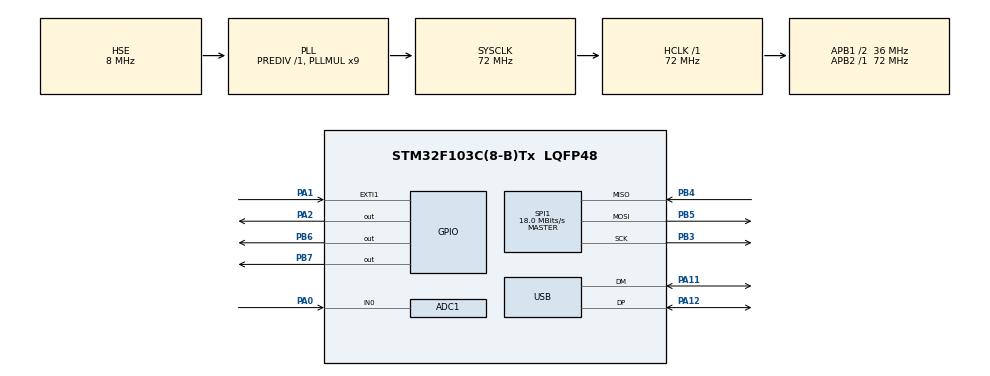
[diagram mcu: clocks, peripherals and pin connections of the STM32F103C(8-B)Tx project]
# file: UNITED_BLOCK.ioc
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ADC1.Channel-0\#ChannelRegularConversion=ADC_CHANNEL_0
ADC1.ContinuousConvMode=ENABLE
ADC1.EnableInjectedConversion=DISABLE
ADC1.NbrOfConversion=1
ADC1.NbrOfConversionFlag=1
ADC1.Rank-0\#ChannelRegularConversion=1
ADC1.SamplingTime-0\#ChannelRegularConversion=ADC_SAMPLETIME_1CYCLE_5
ADC1.master=1
Dma.ADC1.0.Direction=DMA_PERIPH_TO_MEMORY
Dma.ADC1.0.Instance=DMA1_Channel1
Dma.ADC1.0.MemDataAlignment=DMA_MDATAALIGN_WORD
Dma.ADC1.0.MemInc=DMA_MINC_ENABLE
Dma.ADC1.0.Mode=DMA_CIRCULAR
Dma.ADC1.0.PeriphDataAlignment=DMA_PDATAALIGN_WORD
Dma.ADC1.0.PeriphInc=DMA_PINC_DISABLE
Dma.ADC1.0.Priority=DMA_PRIORITY_LOW
Dma.Request0=ADC1
Mcu.Family=STM32F1
Mcu.Name=STM32F103C(8-B)Tx
Mcu.Package=LQFP48
NVIC.DMA1_Channel1_IRQn=true\:0\:0\:false\:false\:true\:false\:true
NVIC.EXTI1_IRQn=true\:0\:0\:false\:false\:true\:true\:true
NVIC.PriorityGroup=NVIC_PRIORITYGROUP_4
NVIC.USB_LP_CAN1_RX0_IRQn=true\:0\:0\:false\:false\:true\:false\:true
PA0-WKUP.Signal=SharedAnalog_PA0
PA1.Signal=GPXTI1
PA11.Mode=Device
PA11.Signal=USB_DM
PA12.Mode=Device
PA12.Signal=USB_DP
PA13.Mode=Serial_Wire
PA13.Signal=SYS_JTMS-SWDIO
PA14.Mode=Serial_Wire
PA14.Signal=SYS_JTCK-SWCLK
PA2.Signal=GPIO_Output
PB3.Mode=Full_Duplex_Master
PB3.Signal=SPI1_SCK
PB4.Mode=Full_Duplex_Master
PB4.Signal=SPI1_MISO
PB5.Mode=Full_Duplex_Master
PB5.Signal=SPI1_MOSI
PB6.PinState=GPIO_PIN_SET
PB6.Signal=GPIO_Output
PB7.PinState=GPIO_PIN_SET
PB7.Signal=GPIO_Output
PC14-OSC32_IN.Mode=LSE-External-Oscillator
PC14-OSC32_IN.Signal=RCC_OSC32_IN
PC15-OSC32_OUT.Mode=LSE-External-Oscillator
PC15-OSC32_OUT.Signal=RCC_OSC32_OUT
PD0-OSC_IN.Mode=HSE-External-Oscillator
PD0-OSC_IN.Signal=RCC_OSC_IN
PD1-OSC_OUT.Mode=HSE-External-Oscillator
PD1-OSC_OUT.Signal=RCC_OSC_OUT
ProjectManager.HeapSize=0x200
ProjectManager.StackSize=0x400
ProjectManager.TargetToolchain=STM32CubeIDE
RCC.ADCPresc=RCC_ADCPCLK2_DIV6
RCC.AHBFreq_Value=72000000
RCC.APB1CLKDivider=RCC_HCLK_DIV2
RCC.APB1Freq_Value=36000000
RCC.APB1TimFreq_Value=72000000
RCC.APB2Freq_Value=72000000
RCC.APB2TimFreq_Value=72000000
RCC.HCLKFreq_Value=72000000
RCC.PLLMUL=RCC_PLL_MUL9
RCC.PLLSourceVirtual=RCC_PLLSOURCE_HSE
RCC.SYSCLKFreq_VALUE=72000000
RCC.SYSCLKSource=RCC_SYSCLKSOURCE_PLLCLK
RCC.USBFreq_Value=48000000
RCC.USBPrescaler=RCC_USBCLKSOURCE_PLL_DIV1_5
SH.SharedAnalog_PA0.0=GPIO_Analog
SH.SharedAnalog_PA0.1=ADC1_IN0,IN0
SPI1.BaudRatePrescaler=SPI_BAUDRATEPRESCALER_4
SPI1.CalculateBaudRate=18.0 MBits/s
SPI1.DataSize=SPI_DATASIZE_16BIT
SPI1.Direction=SPI_DIRECTION_2LINES
SPI1.Mode=SPI_MODE_MASTER
SPI1.VirtualType=VM_MASTER
USB_DEVICE.APP_RX_DATA_SIZE=64
USB_DEVICE.APP_TX_DATA_SIZE=64
USB_DEVICE.CLASS_NAME_FS=CDC
USB_DEVICE.VirtualMode=Cdc
USB_DEVICE.VirtualModeFS=Cdc_FS
VP_USB_DEVICE_VS_USB_DEVICE_CDC_FS.Mode=CDC_FS
board=custom

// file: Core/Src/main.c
/* USER CODE BEGIN Header */
/**
  ******************************************************************************
  * @file           : main.c
  * @brief          : Main program body
  ******************************************************************************
  * @attention
  *
  * <h2><center>&copy; Copyright (c) 2020 STMicroelectronics.
  * All rights reserved.</center></h2>
  *
  * This software component is licensed by ST under BSD 3-Clause license,
  * the "License"; You may not use this file except in compliance with the
  * License. You may obtain a copy of the License at:
  *                        opensource.org/licenses/BSD-3-Clause
  *
  ******************************************************************************
  */
/* USER CODE END Header */
#include "main.h"
#include "usb_device.h"

ADC_HandleTypeDef hadc1;
DMA_HandleTypeDef hdma_adc1;

SPI_HandleTypeDef hspi1;

/* USER CODE BEGIN PV */
char RX_Str[64];
char TX_Str[64];

#define ADC_Buf_Len 2000
volatile uint16_t ADC_Buf[ADC_Buf_Len];

#define ADC_Head_Len 1000
volatile uint16_t ADC_Head_Buf[ADC_Head_Len];

#define Gain "gain"
#define Trigger_Level "tlvl"
#define Start_Stream "sstr"
#define Start_Trace "strc"
#define Start_Trigger "strg"
#define Stop "stop"
#define Reset "rset"
#define Sample_Decim "smrt"

/*
 Standard code table:
 "gainXXXX" - Gain setting, XXXX - Value 0 - 4095
 "tlvlXXXX" - Trigger level setting, XXXX - Value 0 - 4095
 "sstr" - Start Streaming mode sending debug traces (without external interrupt from trigger)
 "strc" - Start Tracer mode sending traces (with external interrupt from trigger)
 "strg"- Start Trigger mode (sending trigger impulse)
 "stop" - Stop Stream\Tracer\Trigger mode
 "rset" - Reset Number of trace
 */

volatile uint16_t Trigger = 2000;
volatile uint16_t Number = 0;
volatile uint16_t Sample_D = 1;
volatile uint8_t End_of_Conv = 0;
uint16_t CDC_RX_Len = 0;

/* USER CODE END PV */

void SystemClock_Config(void);
static void MX_GPIO_Init(void);
static void MX_DMA_Init(void);
static void MX_ADC1_Init(void);
static void MX_SPI1_Init(void);

/* USER CODE BEGIN 0 */
void Ok_Mess()
{
	char mess[] = "Done!\n";
	CDC_Transmit_FS(&mess, strlen(mess));
}

uint8_t ADC_Pre_Buf_Read()
{
	uint16_t N_Stop = 0;
	for(int i = 0; i < ADC_Head_Len; i++)
	{
		ADC_Head_Buf[i] = HAL_ADC_GetValue(&hadc1);
	}

	for(int i = 0; i < ADC_Head_Len; i++)
	{
		ADC_Head_Buf[i] = HAL_ADC_GetValue(&hadc1);
		if(ADC_Head_Buf[i] > Trigger)
		{
			N_Stop = i;
			i = ADC_Head_Len;
			HAL_GPIO_WritePin(GPIOA, GPIO_PIN_2, GPIO_PIN_SET);
			for(int u = ADC_Head_Len; u < ADC_Buf_Len; u++)
			{
				ADC_Buf[u] = HAL_ADC_GetValue(&hadc1);
			}
			for(int u = 0; u < ADC_Head_Len; u++)
			{
				ADC_Buf[u] = ADC_Head_Buf[(N_Stop+u) % ADC_Head_Len];
			}

			HAL_GPIO_WritePin(GPIOA, GPIO_PIN_2, GPIO_PIN_RESET);
			return 1;
		}
	}
	return 0;
}

void ADC_Buf_Clean()
{
	for(int i = 0; i < ADC_Buf_Len ; i++)
	{
		ADC_Buf[i] = 0;
	}
}

void ADC_Read()
{
	HAL_NVIC_DisableIRQ(EXTI1_IRQn);
	for(volatile uint16_t i = 0; i < ADC_Buf_Len ; i++)
	{
		ADC_Buf[i] =HAL_ADC_GetValue(&hadc1);
	}
	End_of_Conv = 1;
}

void DAC_Write(uint16_t val)
{
  uint16_t dac_data = 0x7000 | (val&0x0FFF);
  uint8_t data[2];
  memcpy(&data, &dac_data, sizeof(data));
  HAL_GPIO_WritePin(GPIOB, GPIO_PIN_7, GPIO_PIN_RESET);
  HAL_SPI_Transmit(&hspi1, data, sizeof(data), 0);
  HAL_GPIO_WritePin(GPIOB, GPIO_PIN_7, GPIO_PIN_SET);
}

void Clean_RX()
{
	for(int i = 0; i < 64; i++)
	{
		RX_Str[i] = 0;
	}
}

void Parser()
{
	char c_val[4] = {RX_Str[4], RX_Str[5], RX_Str[6], RX_Str[7]};
	uint16_t val = (uint16_t)(atoi(c_val));

	if(strncmp(RX_Str, Gain, 4) == 0)
	{
		DAC_Write(val);
		Clean_RX();
	}

	if(strncmp(RX_Str, Trigger_Level, 4) == 0)
	{
		Trigger = val;
		Clean_RX();
	}

	if(strncmp(RX_Str, Start_Stream, 4) == 0)
	{
		while(strncmp(RX_Str, Stop, 4))
		{
			ADC_Read();
			CDC_Transmit_FS(&ADC_Buf, ADC_Buf_Len*2);
		}
		Clean_RX();
	}

	if(strncmp(RX_Str, Start_Trace, 4) == 0)
	{

		while(strncmp(RX_Str, Stop, 4))
		{
			if(End_of_Conv == 1)
			{
				CDC_Transmit_FS(&ADC_Buf, ADC_Buf_Len*2);
				//HAL_Delay(10);
				End_of_Conv = 0;
				HAL_NVIC_EnableIRQ(EXTI1_IRQn);
			}
		}
		Clean_RX();
	}

	if(strncmp(RX_Str,  Start_Trigger, 4) == 0)
	{
		while(strncmp(RX_Str, Stop, 4))
		{
			if(ADC_Pre_Buf_Read() == 1 )
			{
				CDC_Transmit_FS(&ADC_Buf, ADC_Buf_Len*2);
				HAL_Delay(20);
			}
		Clean_RX();
		}

	}

	if(strncmp(RX_Str, Reset, 4) == 0)
	{
		Number = 0;
		Clean_RX();
	}

	if(strncmp(RX_Str, Sample_Decim, 4) == 0)
	{
		Sample_D = val;;
		Clean_RX();
	}
}

/* USER CODE END 0 */

int main(void)
{

  /* MCU Configuration--------------------------------------------------------*/

  /* Reset of all peripherals, Initializes the Flash interface and the Systick. */
  HAL_Init();

  /* Configure the system clock */
  SystemClock_Config();

  /* Initialize all configured peripherals */
  MX_GPIO_Init();
  MX_DMA_Init();
  MX_ADC1_Init();
  MX_SPI1_Init();
  MX_USB_DEVICE_Init();
  /* USER CODE BEGIN 2 */

  HAL_ADCEx_Calibration_Start(&hadc1);
  HAL_ADC_Start(&hadc1);

  /* USER CODE END 2 */

  /* Infinite loop */
  /* USER CODE BEGIN WHILE */
  while (1)
  {
	  if(CDC_RX_Len != 0)
	  {
		 Parser();
		 CDC_RX_Len = 0;
		 //Clean_RX();
	  }

    /* USER CODE END WHILE */

  }
}

void SystemClock_Config(void)
{
  RCC_OscInitTypeDef RCC_OscInitStruct = {0};
  RCC_ClkInitTypeDef RCC_ClkInitStruct = {0};
  RCC_PeriphCLKInitTypeDef PeriphClkInit = {0};

  /** Initializes the RCC Oscillators according to the specified parameters
  * in the RCC_OscInitTypeDef structure.
  */
  RCC_OscInitStruct.OscillatorType = RCC_OSCILLATORTYPE_HSE;
  RCC_OscInitStruct.HSEState = RCC_HSE_ON;
  RCC_OscInitStruct.HSEPredivValue = RCC_HSE_PREDIV_DIV1;
  RCC_OscInitStruct.HSIState = RCC_HSI_ON;
  RCC_OscInitStruct.PLL.PLLState = RCC_PLL_ON;
  RCC_OscInitStruct.PLL.PLLSource = RCC_PLLSOURCE_HSE;
  RCC_OscInitStruct.PLL.PLLMUL = RCC_PLL_MUL9;
  if (HAL_RCC_OscConfig(&RCC_OscInitStruct) != HAL_OK)
  {
    Error_Handler();
  }
  /** Initializes the CPU, AHB and APB buses clocks
  */
  RCC_ClkInitStruct.ClockType = RCC_CLOCKTYPE_HCLK|RCC_CLOCKTYPE_SYSCLK
                              |RCC_CLOCKTYPE_PCLK1|RCC_CLOCKTYPE_PCLK2;
  RCC_ClkInitStruct.SYSCLKSource = RCC_SYSCLKSOURCE_PLLCLK;
  RCC_ClkInitStruct.AHBCLKDivider = RCC_SYSCLK_DIV1;
  RCC_ClkInitStruct.APB1CLKDivider = RCC_HCLK_DIV2;
  RCC_ClkInitStruct.APB2CLKDivider = RCC_HCLK_DIV1;

  if (HAL_RCC_ClockConfig(&RCC_ClkInitStruct, FLASH_LATENCY_2) != HAL_OK)
  {
    Error_Handler();
  }
  PeriphClkInit.PeriphClockSelection = RCC_PERIPHCLK_ADC|RCC_PERIPHCLK_USB;
  PeriphClkInit.AdcClockSelection = RCC_ADCPCLK2_DIV6;
  PeriphClkInit.UsbClockSelection = RCC_USBCLKSOURCE_PLL_DIV1_5;
  if (HAL_RCCEx_PeriphCLKConfig(&PeriphClkInit) != HAL_OK)
  {
    Error_Handler();
  }
}

static void MX_ADC1_Init(void)
{

  ADC_ChannelConfTypeDef sConfig = {0};

  /** Common config
  */
  hadc1.Instance = ADC1;
  hadc1.Init.ScanConvMode = ADC_SCAN_DISABLE;
  hadc1.Init.ContinuousConvMode = ENABLE;
  hadc1.Init.DiscontinuousConvMode = DISABLE;
  hadc1.Init.ExternalTrigConv = ADC_SOFTWARE_START;
  hadc1.Init.DataAlign = ADC_DATAALIGN_RIGHT;
  hadc1.Init.NbrOfConversion = 1;
  if (HAL_ADC_Init(&hadc1) != HAL_OK)
  {
    Error_Handler();
  }
  /** Configure Regular Channel
  */
  sConfig.Channel = ADC_CHANNEL_0;
  sConfig.Rank = ADC_REGULAR_RANK_1;
  sConfig.SamplingTime = ADC_SAMPLETIME_1CYCLE_5;
  if (HAL_ADC_ConfigChannel(&hadc1, &sConfig) != HAL_OK)
  {
    Error_Handler();
  }

}

static void MX_SPI1_Init(void)
{

  /* SPI1 parameter configuration*/
  hspi1.Instance = SPI1;
  hspi1.Init.Mode = SPI_MODE_MASTER;
  hspi1.Init.Direction = SPI_DIRECTION_2LINES;
  hspi1.Init.DataSize = SPI_DATASIZE_16BIT;
  hspi1.Init.CLKPolarity = SPI_POLARITY_LOW;
  hspi1.Init.CLKPhase = SPI_PHASE_1EDGE;
  hspi1.Init.NSS = SPI_NSS_SOFT;
  hspi1.Init.BaudRatePrescaler = SPI_BAUDRATEPRESCALER_4;
  hspi1.Init.FirstBit = SPI_FIRSTBIT_MSB;
  hspi1.Init.TIMode = SPI_TIMODE_DISABLE;
  hspi1.Init.CRCCalculation = SPI_CRCCALCULATION_DISABLE;
  hspi1.Init.CRCPolynomial = 10;
  if (HAL_SPI_Init(&hspi1) != HAL_OK)
  {
    Error_Handler();
  }

}

static void MX_DMA_Init(void)
{

  /* DMA controller clock enable */
  __HAL_RCC_DMA1_CLK_ENABLE();

  /* DMA interrupt init */
  /* DMA1_Channel1_IRQn interrupt configuration */
  HAL_NVIC_SetPriority(DMA1_Channel1_IRQn, 0, 0);
  HAL_NVIC_EnableIRQ(DMA1_Channel1_IRQn);

}

static void MX_GPIO_Init(void)
{
  GPIO_InitTypeDef GPIO_InitStruct = {0};

  /* GPIO Ports Clock Enable */
  __HAL_RCC_GPIOC_CLK_ENABLE();
  __HAL_RCC_GPIOD_CLK_ENABLE();
  __HAL_RCC_GPIOA_CLK_ENABLE();
  __HAL_RCC_GPIOB_CLK_ENABLE();

  /*Configure GPIO pin Output Level */
  HAL_GPIO_WritePin(GPIOA, GPIO_PIN_2, GPIO_PIN_RESET);

  /*Configure GPIO pin Output Level */
  HAL_GPIO_WritePin(GPIOB, GPIO_PIN_6|GPIO_PIN_7, GPIO_PIN_SET);

  /*Configure GPIO pin : PA1 */
  GPIO_InitStruct.Pin = GPIO_PIN_1;
  GPIO_InitStruct.Mode = GPIO_MODE_IT_RISING;
  GPIO_InitStruct.Pull = GPIO_NOPULL;
  HAL_GPIO_Init(GPIOA, &GPIO_InitStruct);

  /*Configure GPIO pin : PA2 */
  GPIO_InitStruct.Pin = GPIO_PIN_2;
  GPIO_InitStruct.Mode = GPIO_MODE_OUTPUT_PP;
  GPIO_InitStruct.Pull = GPIO_NOPULL;
  GPIO_InitStruct.Speed = GPIO_SPEED_FREQ_LOW;
  HAL_GPIO_Init(GPIOA, &GPIO_InitStruct);

  /*Configure GPIO pins : PB6 PB7 */
  GPIO_InitStruct.Pin = GPIO_PIN_6|GPIO_PIN_7;
  GPIO_InitStruct.Mode = GPIO_MODE_OUTPUT_PP;
  GPIO_InitStruct.Pull = GPIO_NOPULL;
  GPIO_InitStruct.Speed = GPIO_SPEED_FREQ_LOW;
  HAL_GPIO_Init(GPIOB, &GPIO_InitStruct);

  /* EXTI interrupt init*/
  HAL_NVIC_SetPriority(EXTI1_IRQn, 0, 0);
  HAL_NVIC_EnableIRQ(EXTI1_IRQn);

}

/* USER CODE BEGIN 4 */
void CDC_ReciveCallBack(uint8_t *Buf, uint32_t *Len)
{

	//CDC_Transmit_FS(Buf, Len);// debug
	memcpy(RX_Str, Buf, Len);
	CDC_RX_Len = Len;
	//RX_Str[CDC_RX_Len] = '\n';

}

void HAL_GPIO_EXTI_Callback(uint16_t GPIO_Pin)
{
	if(GPIO_Pin == GPIO_PIN_1)
	{
		ADC_Read();
	}
	else
	{
		__NOP();
	}
}
/* USER CODE END 4 */

void Error_Handler(void)
{
}

/************************ (C) COPYRIGHT STMicroelectronics *****END OF FILE****/
